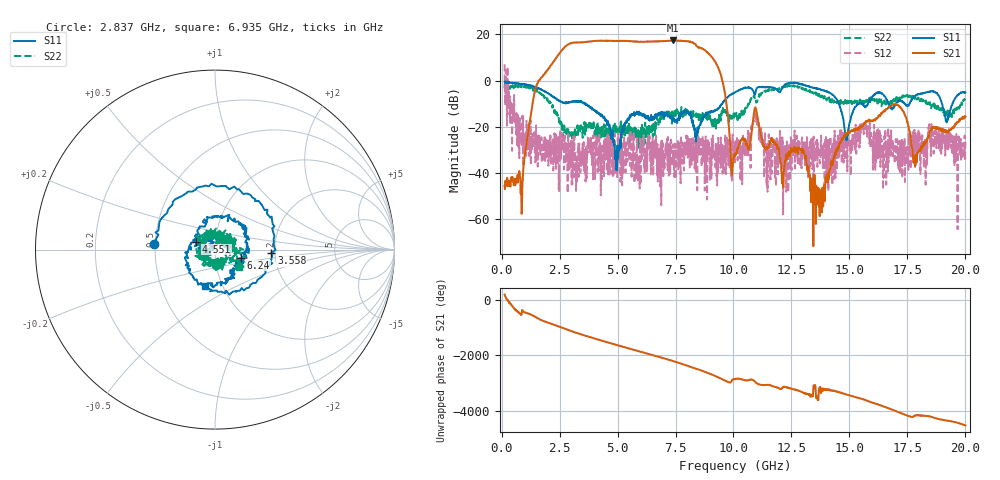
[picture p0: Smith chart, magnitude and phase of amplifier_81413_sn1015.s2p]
!Created with skrf (http://scikit-rf.org).
# GHz S RI R 50.0
!freq ReS11 ImS11 ReS21 ImS21 ReS12 ImS12 ReS22 ImS22
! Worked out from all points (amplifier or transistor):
!   1601 points, 130 MHz to 20 GHz, reference 50 ohm
!   highest |S21| = 17.4 dB at 7.383 GHz (marker M1)
!   |S21| within 3 dB of that: 2.709 GHz to 8.482 GHz (5.773 GHz wide, 103 % of centre)
!   unconditionally stable (mu >= 1): start of sweep to end of sweep
!   at 3.433 GHz: K = 2.41, MAG = 17.2 dB, |S12| = -31.0 dB
!   at 10.06 GHz: K = 286.64, MAG = -30.1 dB, |S12| = -26.8 dB
!   at 20 GHz: K = 35.44, MAG = -13.1 dB, |S12| = -26.3 dB
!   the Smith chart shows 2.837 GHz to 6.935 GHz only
!   S11 on the Smith chart (normalised r, x): 2.837 GHz: 0.49, +0.03; 3.558 GHz: 1.92, -0.08; 4.551 GHz: 0.81, +0.07; 6.24 GHz: 1.34, -0.12; 6.935 GHz: 0.83, -0.35
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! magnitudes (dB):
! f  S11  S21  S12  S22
! 130 MHz  -0.4  -45.5  7.1  -3.3
! 763.4 MHz  -1.3  -39.1  -33.6  -2.6
! 1.508 GHz  -2.8  -2.0  -34.3  -4.2
! 2.837 GHz  -9.3  15.5  -27.5  -21.4
! 3.446 GHz  -9.0  16.7  -33.4  -20.1
! 3.558 GHz  -10.0  16.7  -39.1  -21.9
! 4.551 GHz  -18.9  17.3  -28.4  -21.1
! 4.986 GHz  -38.0  17.2  -41.7  -21.5
! 6.24 GHz  -16.3  16.9  -29.8  -22.0
! 6.762 GHz  -14.0  17.0  -29.7  -19.1
! 6.935 GHz  -13.5  17.1  -32.2  -15.6
! 7.383 GHz  -17.1  17.4  -35.9  -13.5
! 9.258 GHz  -12.7  7.2  -28.3  -17.2
! 10.06 GHz  -5.1  -31.8  -26.8  -14.8
! 10.96 GHz  -4.7  -11.9  -15.3  -9.1
! 11.52 GHz  -2.8  -28.7  -23.2  -3.8
! 12.95 GHz  -1.5  -30.8  -25.7  -3.4
! 13.38 GHz  -2.9  -49.6  -27.3  -5.1
! 14.87 GHz  -25.9  -22.8  -24.6  -9.1
! 16.7 GHz  -10.1  -11.6  -28.6  -9.9
! 17.83 GHz  -6.5  -37.3  -30.3  -7.1
! 20 GHz  -5.1  -15.5  -26.3  -7.9
